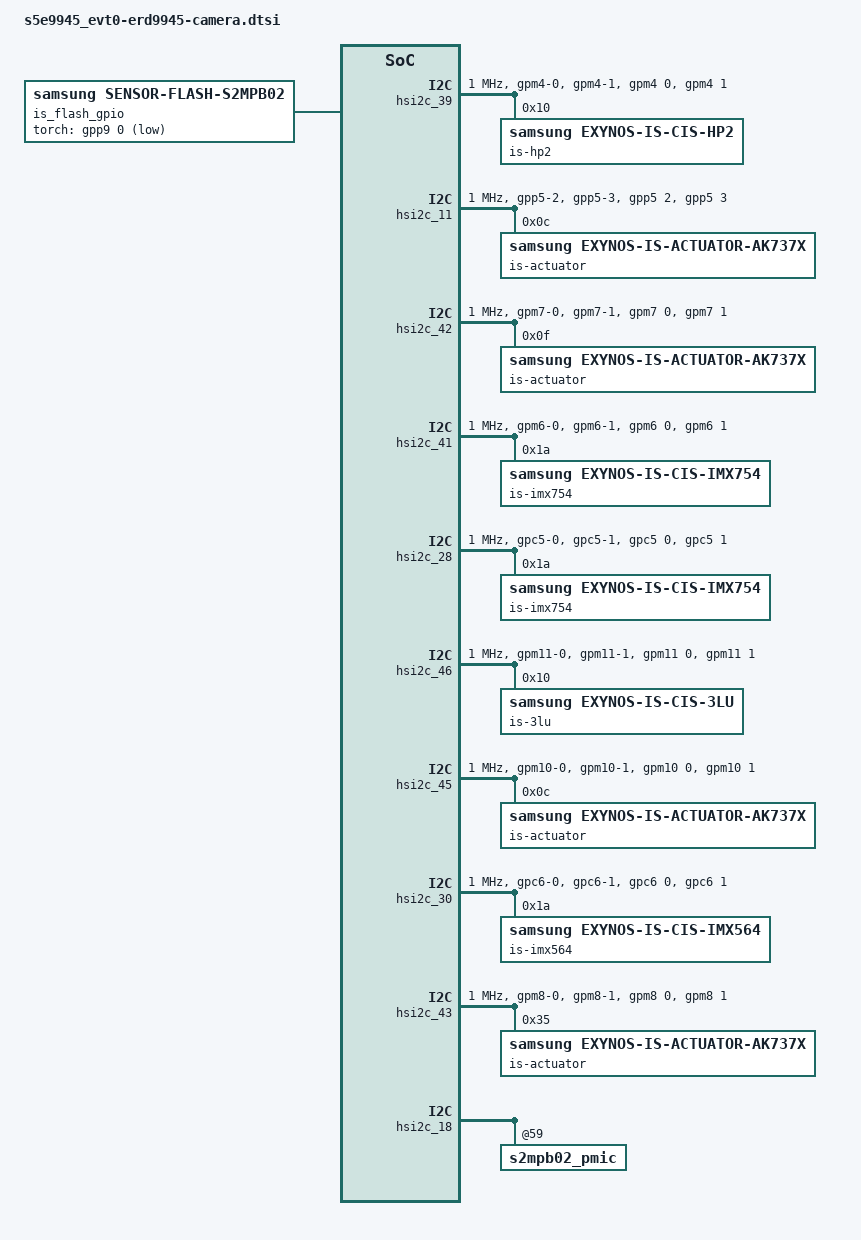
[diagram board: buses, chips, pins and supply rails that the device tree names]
/*
 * Samsung Exynos SoC series Pablo driver
 *
 * Copyright (c) 2022 Samsung Electronics Co., Ltd
 *
 * This program is free software; you can redistribute it and/or modify
 * it under the terms of the GNU General Public License version 2 as
 * published by the Free Software Foundation.
 */

#include <dt-bindings/camera/exynos_is_dt.h>

#include "module_hp2.dtsi"
#include "module_imx754.dtsi"
#include "module_imx754_mirrorflip.dtsi"
#include "module_imx564.dtsi"
#include "module_3lu.dtsi"

/ {
	fragment@camera {
		target-path = "/";
		__overlay__ {
			#address-cells = <2>;
			#size-cells = <1>;
			interrupt-parent = <&gic>;

			is_flash_gpio: is-flash-gpio@0 {
				compatible = "samsung,sensor-flash-s2mpb02";
				sensor-module = <&is_sensor_hp2>, <&is_sensor_imx754>, <&is_sensor_imx754_mirrorflip>;
				id = <0 2 3>;
				status = "okay";

				torch-gpio = <&gpp9 0 0x1>;
			};

			/* REAR CAMERA */
			is_sensor0: is_sensor0@1A030000 {
				reg = <0x0 0x1A040000 0x1000>, /* MIPI-CSI1 */
					<0x0 0x1A0F0000 0x10000>, /* PHY: M0S4S4S4S4S4S2 */
					<0x0 0x1A19022C 0x10>, /* CSIS_FRO */
					<0x0 0x1A190254 0x10>; /* CSIS 7x5 OTF_OUT MUX */
				scenario = <SENSOR_SCENARIO_NORMAL>;    /* Normal, Vision, OIS etc */

				id = <0>;
				csi_ch = <1>;
				status = "okay";
				use_cphy = <1>;

				interrupts = <0 INTREQ__CSIS1 IRQ_TYPE_LEVEL_HIGH>; /* MIPI-CSI1 */
				phys = <&mipi_phy_csis1_m0s4s4s4s4s4s4_s22 0>;
				phy_setfile = <&cphy_setfile>;
			};

			/* FRONT CAMERA */
			is_sensor1: is_sensor1@1A040000 {
				reg = <0x0 0x1A030000 0x1000>, /* MIPI-CSI0 */
					<0x0 0x1A0F0000 0x10000>, /* PHY: M0S4S4S4S4S4S2 */
					<0x0 0x1A19022C 0x10>, /* CSIS_FRO */
					<0x0 0x1A190254 0x10>; /* CSIS 7x5 OTF_OUT MUX */
				scenario = <SENSOR_SCENARIO_NORMAL>;    /* Normal, Vision, OIS etc */
				id = <1>;
				csi_ch = <0>;
				status = "okay";
				use_cphy = <1>;
				scramble = <1>; /* need to sync with sensor setting */

				interrupts = <0 INTREQ__CSIS0 IRQ_TYPE_LEVEL_HIGH>; /* MIPI-CSI0 */
				phys = <&mipi_phy_csis0_m0s4s4s4s4s4s4_s22 0>;
				phy_setfile = <&cphy_setfile>;
			};

			/* Tele x3 CAMERA */
			is_sensor2: is_sensor2@1A050000 {
				reg = <0x0 0x1A050000 0x1000>, /* MIPI-CSI2 */
					<0x0 0x1A0F0000 0x10000>, /* PHY: M0S4S4S4S4S4S2 */
					<0x0 0x1A19022C 0x10>, /* CSIS_FRO */
					<0x0 0x1A190254 0x10>; /* CSIS 7x5 OTF_OUT MUX */
				scenario = <SENSOR_SCENARIO_NORMAL>;    /* Normal, Vision, OIS etc */
				id = <2>;
				csi_ch = <2>;
				status = "okay";
				use_cphy = <1>;

				interrupts = <0 INTREQ__CSIS2 IRQ_TYPE_LEVEL_HIGH>; /* MIPI-CSI2 */
				phys = <&mipi_phy_csis2_m0s4s4s4s4s4s4_s22 0>;
				phy_setfile = <&cphy_setfile>;
			};

			/* Tele x10 CAMERA */
			is_sensor3: is_sensor3@1A060000 {
				reg = <0x0 0x1A070000 0x1000>, /* MIPI-CSI4 */
					<0x0 0x1A0F0000 0x10000>, /* PHY: M0S4S4S4S4S4S2 */
					<0x0 0x1A19022C 0x10>, /* CSIS_FRO */
					<0x0 0x1A190254 0x10>; /* CSIS 7x5 OTF_OUT MUX */
				scenario = <SENSOR_SCENARIO_NORMAL>;    /* Normal, Vision, OIS etc */
				id = <3>;
				csi_ch = <4>;
				status = "okay";
				use_cphy = <1>;

				interrupts = <0 INTREQ__CSIS4 IRQ_TYPE_LEVEL_HIGH>; /* MIPI-CSI4 */
				phys = <&mipi_phy_csis4_m0s4s4s4s4s4s4_s22 0>;
				phy_setfile = <&cphy_setfile>;
			};

			/* ULTRA WIDE CAMERA */
			is_sensor4: is_sensor4@1A070000 {
				reg = <0x0 0x1A060000 0x1000>, /* MIPI-CSI3 */
					<0x0 0x1A0F0000 0x10000>, /* PHY: M0S4S4S4S4S4S2 */
					<0x0 0x1A19022C 0x10>, /* CSIS_FRO */
					<0x0 0x1A190254 0x10>; /* CSIS 7x5 OTF_OUT MUX */
				scenario = <SENSOR_SCENARIO_NORMAL>;    /* Normal, Vision, OIS etc */
				id = <4>;
				csi_ch = <3>;
				status = "okay";
				use_cphy = <1>;

				interrupts = <0 INTREQ__CSIS3 IRQ_TYPE_LEVEL_HIGH>; /* MIPI-CSI3 */
				phys = <&mipi_phy_csis3_m0s4s4s4s4s4s4_s22 0>;
				phy_setfile = <&cphy_setfile>;
			};

			is_sensor5: is_sensor5@1A080000 {
				scenario = <SENSOR_SCENARIO_NORMAL>;    /* Normal, Vision, OIS etc */
				id = <1>;
				csi_ch = <1>;
				status = "disabled";
			};
		}; /* end of __overlay__ */
	}; /* end of fragment */
}; /* end of root */

/***** reference symbol node *****/
&pinctrl_1 {
	/* REAR WIDE */
	hsi2c39_bus_in: hsi2c39-bus-in {
		samsung,pins = "gpm4-0", "gpm4-1";
		samsung,pin-function = <0>;
		samsung,pin-pud = <0>;
		samsung,pin-drv = <0>;
	};

	/* REAR TELE 3x */
	hsi2c41_bus_in: hsi2c41-bus-in {
		samsung,pins = "gpm6-0", "gpm6-1";
		samsung,pin-function = <0>;
		samsung,pin-pud = <0>;
		samsung,pin-drv = <0>;
	};

	/* FRONT */
	hsi2c46_bus_in: hsi2c46_bus_in-bus-in {
		samsung,pins = "gpm11-0", "gpm11-1";
		samsung,pin-function = <0>;
		samsung,pin-pud = <0>;
		samsung,pin-drv = <0>;
	};

	/* Tele 3x AF */
	hsi2c42_bus_in: hsi2c42-bus-in {
		samsung,pins = "gpm7-0", "gpm7-1";
		samsung,pin-function = <0>;
		samsung,pin-pud = <0>;
		samsung,pin-drv = <0>;
	};

	/* REAR UW AF*/
	hsi2c43_bus_in: hsi2c43-bus-in {
		samsung,pins = "gpm8-0", "gpm8-1";
		samsung,pin-function = <0>;
		samsung,pin-pud = <0>;
		samsung,pin-drv = <0>;
	};

	/* FRONT AF*/
	hsi2c45_bus_in: hsi2c45-bus-in {
		samsung,pins = "gpm10-0", "gpm10-1";
		samsung,pin-function = <0>;
		samsung,pin-pud = <0>;
		samsung,pin-drv = <0>;
	};
};

&pinctrl_6 {
	/* Tele 10x */
	hsi2c28_bus_in: hsi2c28-bus-in {
		samsung,pins = "gpc5-0", "gpc5-1";
		samsung,pin-function = <0>;
		samsung,pin-pud = <0>;
		samsung,pin-drv = <0>;
	};
};

&pinctrl_7 {
	/* REAR UW */
	hsi2c30_bus_in: hsi2c30-bus-in {
		samsung,pins = "gpc6-0", "gpc6-1";
		samsung,pin-function = <0>;
		samsung,pin-pud = <0>;
		samsung,pin-drv = <0>;
	};

	/* REAR WIDE AF */
	hsi2c11_bus_in: hsi2c11-bus-in {
		samsung,pins = "gpp5-2", "gpp5-3";
		samsung,pin-function = <0>;
		samsung,pin-pud = <0>;
		samsung,pin-drv = <0>;
	};
};

&hsi2c_39 {
	#address-cells = <1>;
	#size-cells = <0>;
	gpios = <&gpm4 0 0 &gpm4 1 0>;
	status = "okay";
	clock-frequency = <1000000>;
	samsung,reset-before-trans;
	samsung,fast-plus-mode;

	pinctrl-names = "default","on_i2c","off_i2c";
	pinctrl-0 = <&hsi2c39_bus_in>;
	pinctrl-1 = <&hsi2c39_bus>;
	pinctrl-2 = <&hsi2c39_bus_in>;

	is-hp2@10 {
		compatible = "samsung,exynos-is-cis-hp2";
		sensor-module = <&is_sensor_hp2>;
		reg = <0x10>; /* 1 bit right shift */
		id = <0>; /* matching is_sensor id */
		setfile = "setA";
		rev_reg = <0x0002 2 0xB000>;
	};
};

&hsi2c_11 {
	#address-cells = <1>;
	#size-cells = <0>;
	gpios = <&gpp5 2 0 &gpp5 3 0>;
	status = "okay";
	clock-frequency = <1000000>;
	samsung,reset-before-trans;
	samsung,fast-plus-mode;

	pinctrl-names = "default","on_i2c","off_i2c";
	pinctrl-0 = <&hsi2c11_bus_in>;
	pinctrl-1 = <&hsi2c11_bus>;
	pinctrl-2 = <&hsi2c11_bus_in>;

	is-actuator@C { /* wide AF */
		compatible = "samsung,exynos-is-actuator-ak737x";
		sensor-module = <&is_sensor_hp2>;
		reg = <0x0C>;
		id = <0>; /* matching is_sensor id */
		/* AK7314: addr 0xF3, data 0x19 */
		vendor_product_id = <0xF3 0x13 0xF3 0x19>;
		vendor_first_pos = <2000>;  /* 12bits */
		vendor_first_delay = <2000>;
		vendor_soft_landing_seqid = <3>;
		vendor_soft_landing_list = <640 30 64 30>; /* 1st_pos delay 2nd_pos delay */
		vendor_use_sleep_mode;
		vendor_use_standby_mode; /* AK7314 with vendor_use_sleep_mode */
		/* delay settings for AK7314 */
		vendor_sleep_to_standby_delay = <2200>;
		vendor_active_to_standby_delay = <300>;
	};
};

&hsi2c_42 {
	#address-cells = <1>;
	#size-cells = <0>;
	gpios = <&gpm7 0 0 &gpm7 1 0>;
	status = "okay";
	clock-frequency = <1000000>;
	samsung,reset-before-trans;
	samsung,fast-plus-mode;

	pinctrl-names = "default","on_i2c","off_i2c";
	pinctrl-0 = <&hsi2c42_bus_in>;
	pinctrl-1 = <&hsi2c42_bus>;
	pinctrl-2 = <&hsi2c42_bus_in>;

	is-actuator@F { /* tele 3x AF */
		compatible = "samsung,exynos-is-actuator-ak737x";
		sensor-module = <&is_sensor_imx754>;
		reg = <0x0F>;
		id = <2>; /* matching is_sensor id */
		/* DW9825A */
		vendor_product_id = <0xF3 0x0E 0xF3 0x00 0xF3 0x19 0xF3 0x13>;
		vendor_first_pos = <960>;  /* 12bits */
		vendor_first_delay = <2000>;
		vendor_use_sleep_mode;
		vendor_use_standby_mode; /* with vendor_use_sleep_mode */
		/* delay settings for DW9825A */
		vendor_sleep_to_standby_delay = <3000>;
		vendor_active_to_standby_delay = <300>;
	};
};

&hsi2c_41 {
	#address-cells = <1>;
	#size-cells = <0>;
	gpios = <&gpm6 0 0 &gpm6 1 0>;
	status = "okay";
	clock-frequency = <1000000>;
	samsung,reset-before-trans;
	samsung,fast-plus-mode;

	pinctrl-names = "default","on_i2c","off_i2c";
	pinctrl-0 = <&hsi2c41_bus_in>;
	pinctrl-1 = <&hsi2c41_bus>;
	pinctrl-2 = <&hsi2c41_bus_in>;

	is-imx754@1A { /* tele x3 */
		compatible = "samsung,exynos-is-cis-imx754";
		sensor-module = <&is_sensor_imx754>;
		reg = <0x1A>; /* 1 bit right shift */
		id = <2>; /* matching is_sensor id */
		setfile = "setA";
		rev_reg = <0x0018 1 0x30>;
		vendor_use_adaptive_mipi;
	};
};

&hsi2c_28 {
	#address-cells = <1>;
	#size-cells = <0>;
	gpios = <&gpc5 0 0 &gpc5 1 0>;
	status = "okay";
	clock-frequency = <1000000>;
	samsung,reset-before-trans;
	samsung,fast-plus-mode;

	pinctrl-names = "default","on_i2c","off_i2c";
	pinctrl-0 = <&hsi2c28_bus_in>;
	pinctrl-1 = <&hsi2c28_bus>;
	pinctrl-2 = <&hsi2c28_bus_in>;

	is-imx754@1A { /* tele x10 */
		compatible = "samsung,exynos-is-cis-imx754";
		sensor-module = <&is_sensor_imx754_mirrorflip>;
		reg = <0x1A>; /* 1 bit right shift */
		id = <3>; /* matching is_sensor id */
		setfile = "setB";
		rev_reg = <0x0018 1 0x30>;
		multicam_slave = <1>;
		vendor_use_adaptive_mipi;
	};
};

&hsi2c_46 {
	#address-cells = <1>;
	#size-cells = <0>;
	gpios = <&gpm11 0 0 &gpm11 1 0>;
	status = "okay";
	clock-frequency = <1000000>;
	samsung,reset-before-trans;
	samsung,fast-plus-mode;

	pinctrl-names = "default","on_i2c","off_i2c";
	pinctrl-0 = <&hsi2c46_bus_in>;
	pinctrl-1 = <&hsi2c46_bus>;
	pinctrl-2 = <&hsi2c46_bus_in>;

	is-3lu@10 {
		compatible = "samsung,exynos-is-cis-3lu";
		sensor-module = <&is_sensor_3lu>;
		reg = <0x10>; /* 1 bit right shift */
		id = <1>; /* matching is_sensor id */
		setfile = "default";
		rev_reg = <0x0002 2 0xA101>;
		vendor_use_adaptive_mipi;
	};

};

&hsi2c_45 {
	#address-cells = <1>;
	#size-cells = <0>;
	gpios = <&gpm10 0 0 &gpm10 1 0>;
	status = "okay";
	clock-frequency = <1000000>;
	samsung,reset-before-trans;
	samsung,fast-plus-mode;

	pinctrl-names = "default","on_i2c","off_i2c";
	pinctrl-0 = <&hsi2c45_bus_in>;
	pinctrl-1 = <&hsi2c45_bus>;
	pinctrl-2 = <&hsi2c45_bus_in>;

	is-actuator@C { /* front AF */
		compatible = "samsung,exynos-is-actuator-ak737x";
		sensor-module = <&is_sensor_3lu>;
		reg = <0x0C>;
		id = <1>; /* matching is_sensor id */
		/* DW9825A */
		vendor_product_id = <0xF3 0x0E>;
		vendor_first_pos = <960>;  /* 12bits */
		vendor_first_delay = <2000>;
		vendor_use_sleep_mode;
		vendor_use_standby_mode; /* with vendor_use_sleep_mode */
		/* delay settings for DW9825A */
		vendor_sleep_to_standby_delay = <3000>;
		vendor_active_to_standby_delay = <300>;
	};
};

&hsi2c_30 {
	#address-cells = <1>;
	#size-cells = <0>;
	gpios = <&gpc6 0 0 &gpc6 1 0>;
	status = "okay";
	clock-frequency = <1000000>;
	samsung,reset-before-trans;
	samsung,fast-plus-mode;

	pinctrl-names = "default","on_i2c","off_i2c";
	pinctrl-0 = <&hsi2c30_bus_in>;
	pinctrl-1 = <&hsi2c30_bus>;
	pinctrl-2 = <&hsi2c30_bus_in>;

	is-imx564@1A { /* ultrawide */
		compatible = "samsung,exynos-is-cis-imx564";
		sensor-module = <&is_sensor_imx564>;
		reg = <0x1A>; /* 1 bit right shift */
		id = <4>; /* matching is_sensor id */
		setfile = "setA";
		status = "okay";
		rev_reg = <0x36F2 2 0x564D>;
		vendor_use_adaptive_mipi;
	};
};

&hsi2c_43 {
	#address-cells = <1>;
	#size-cells = <0>;
	gpios = <&gpm8 0 0 &gpm8 1 0>;
	status = "okay";
	clock-frequency = <1000000>;
	samsung,reset-before-trans;
	samsung,fast-plus-mode;

	pinctrl-names = "default","on_i2c","off_i2c";
	pinctrl-0 = <&hsi2c43_bus_in>;
	pinctrl-1 = <&hsi2c43_bus>;
	pinctrl-2 = <&hsi2c43_bus_in>;

	is-actuator@35 { /* uwide AF */
		compatible = "samsung,exynos-is-actuator-ak737x";
		reg = <0x35>;
		sensor-module = <&is_sensor_imx564>;
		id = <4>; /* matching is_sensor id */
		/* DW9825A */
		vendor_product_id = <0xF3 0x0E>;
		vendor_first_pos = <960>;  /* 12bits */
		vendor_first_delay = <2000>;
		vendor_use_sleep_mode;
		vendor_use_standby_mode; /* with vendor_use_sleep_mode */
		/* delay settings for DW9825A */
		vendor_sleep_to_standby_delay = <3000>;
		vendor_active_to_standby_delay = <300>;
	};
};

&hsi2c_18 {
	s2mpb02_pmic@59 {
		torch {
			torch1-gpio = <&gpp9 0 0x1>;

			status = "okay";

			leds1 {
				ledname = "leds-sec1";
				id = <0>;
				brightness = <0xE>; /* adaptive Nx100+50 : 1450mA */
				timeout = <0x7>; /* (N+1)x62.5 : 500ms */
				torch_table_enable = <0>;
			};

			leds2 {
				ledname = "torch-sec1";
				id = <1>;
				brightness = <0xE>; /* Nx20 = 280mA */
				timeout = <0xF>;
				torch_table_enable = <1>;
				torch_table = <3 5 5 6 6 8 8 8 10 10>;
				/* 60mA 100mA 120mA 160mA 200mA */
			};
		};
	};
};

&exynos_is {
	vender {
		use_module_check;
		use_ois;
		check_sensor_vendor;
		ois_sensor_index = <0>;
		aperture_sensor_index = <0>;
		mcu_sensor_index = <0>;

		is_vendor_sensor_count = <5>;
		max_supported_camera = <7>;
		supported_cameraId = <56 58 52 54 1 21 23>;
		ois_gyro_list = <0x01 0x01 0x30 0x01 0x01 0x00 0x01>;
		/*
		* Wide(0)
		* Front(1)
		* U Wide(2)
		* Front 80(3) - not available for factory
		* Rear ToF(4) - not available for factory
		* Front Secure(5) - not available for factory
		* Dual Zoom(20)
		* Dual Portrait Tele(21) - Main Tele/Sub Wide
		* Dual Portrait Wide(23) - Main Wide/Sub U Wide
		* Tele 2x2(50)
		* Tele 17.9(52)
		* Front_3(53)
		* Tele_2(54)
		* Front_4(55)
		* Rear_Wide(56)
		* Rear_UW(58)
		* REAR ToF(80)
		*/

		/* sysfs camera id */
		max_camera_num = <9>;
		sensor_name { /* position = "name" */
			0 = "S5KHP2";
			1 = "S5K3LU";
			2 = "IMX754";
			4 = "IMX564";
			6 = "IMX754";
		};

		sensor_id { /* position = <sensor_id> */
			0 = <74>;	/* S5KHP2 */
			1 = <75>;	/* S5K3LU */
			2 = <127>;	/* IMX754 */
			4 = <129>;	/* IMX564 */
			6 = <127>;	/* IMX754 */
		};

		camera_info0 {			/* 0 : sysfs rear */
			internal_id = <0>;	/* 0 : wide */
			isp = <0>;		/* 0 : INT, 1 : EXT, 2 : SOC */
			cal_memory = <2>;	/* 0 : N, 1 : FROM, 2 : EEPROM, 3 : OTP */
			read_version = <0>;	/* 0 : SYSFS, 1 : CAMON */
			core_voltage = <0>;	/* 0 : N, 1 : Y */
			upgrade = <0>;		/* 0 : N, 1 : SYSFS , 2 : CAMON */
			fw_write = <0>;		/* 0 : N, 1 : OS, 2 : SD, 3 : ALL */
			fw_dump = <0>;		/* 0 : N, 1 : Y */
			companion = <0>;	/* 0 : N, 1 : Y */
			ois = <1>;		/* 0 : N, 1 : Y */
			valid = <1>;		/* 0 : INVALID, 1 : VALID */
		};
		camera_info1 {			/* 1 : sysfs front */
			internal_id = <1>;	/* 1 : front master */
			isp = <0>;		/* 0 : INT, 1 : EXT, 2 : SOC */
			cal_memory = <2>;	/* 0 : N, 1 : FROM, 2 : EEPROM, 3 : OTP */
			read_version = <0>;	/* 0 : SYSFS, 1 : CAMON */
			core_voltage = <0>;	/* 0 : N, 1 : Y */
			upgrade = <0>;		/* 0 : N, 1 : SYSFS, 2 : CAMON */
			fw_write = <0>;		/* 0 : N, 1 : OS, 2 : SD, 3 : ALL */
			fw_dump = <0>;		/* 0 : N, 1 : Y */
			companion = <0>;	/* 0 : N, 1 : Y */
			ois = <0>;		/* 0 : N, 1 : Y */
			valid = <1>;		/* 0 : INVALID, 1 : VALID */
		};
		camera_info2 {			/* 2 : sysfs rear2 */
			internal_id = <4>;	/* 4 : ultra wide */
			isp = <0>;		/* 0 : INT, 1 : EXT, 2 : SOC */
			cal_memory = <2>;	/* 0 : N, 1 : FROM, 2 : EEPROM, 3 : OTP */
			read_version = <0>;	/* 0 : SYSFS, 1 : CAMON */
			core_voltage = <0>;	/* 0 : N, 1 : Y */
			upgrade = <0>;		/* 0 : N, 1 : SYSFS, 2 : CAMON */
			fw_write = <0>;		/* 0 : N, 1 : OS, 2 : SD, 3 : ALL */
			fw_dump = <0>;		/* 0 : N, 1 : Y */
			companion = <0>;	/* 0 : N, 1 : Y */
			ois = <0>;		/* 0 : N, 1 : Y */
			valid = <1>;		/* 0 : INVALID, 1 : VALID */
		};
		camera_info3 {			/* 3 : sysfs front2 */
			valid = <0>;		/* 0 : INVALID, 1 : VALID */
		};
		camera_info4 {			/* 4 : sysfs rear3 */
			internal_id = <2>;	/* 4 : tele */
			isp = <0>;		/* 0 : INT, 1 : EXT, 2 : SOC */
			cal_memory = <2>;	/* 0 : N, 1 : FROM, 2 : EEPROM, 3 : OTP */
			read_version = <0>;	/* 0 : SYSFS, 1 : CAMON */
			core_voltage = <0>;	/* 0 : N, 1 : Y */
			upgrade = <0>;		/* 0 : N, 1 : SYSFS, 2 : CAMON */
			fw_write = <0>;		/* 0 : N, 1 : OS, 2 : SD, 3 : ALL */
			fw_dump = <0>;		/* 0 : N, 1 : Y */
			companion = <0>;	/* 0 : N, 1 : Y */
			ois = <1>;		/* 0 : N, 1 : Y */
			valid = <1>;		/* 0 : INVALID, 1 : VALID   */
		};
		camera_info5 {			/* 5 : sysfs front3 */
			valid = <0>;		/* 0 : INVALID, 1 : VALID */
		};
		camera_info6 {			/* 6 : sysfs rear4 */
			internal_id = <6>;	/* 6 : tele x10 */
			isp = <0>;		/* 0 : INT, 1 : EXT, 2 : SOC */
			cal_memory = <2>;	/* 0 : N, 1 : FROM, 2 : EEPROM, 3 : OTP */
			read_version = <0>;	/* 0 : SYSFS, 1 : CAMON */
			core_voltage = <0>;	/* 0 : N, 1 : Y */
			upgrade = <0>;		/* 0 : N, 1 : SYSFS, 2 : CAMON */
			fw_write = <0>;		/* 0 : N, 1 : OS, 2 : SD, 3 : ALL */
			fw_dump = <0>;		/* 0 : N, 1 : Y */
			companion = <0>;	/* 0 : N, 1 : Y */
			ois = <1>;		/* 0 : N, 1 : Y */
			valid = <1>;		/* 0 : INVALID, 1 : VALID   */
		};
		camera_info7 {			/* 7 : sysfs front4 */
			valid = <0>;		/* 0 : INVALID, 1 : VALID */
		};
		camera_info8 {			/* 8 : sysfs rear tof */
			valid = <0>;		/* 0 : INVALID, 1 : VALID */
		};
	};

	lic_offsets {
		/* 3AA = <setA lic offset0, setA lic offset1, set A trigger context */
		/*		setB lic offset0, setB lic offset1, set B trigger context> */
		/* 4672: 4640x4352 */
		/* 5824: 5804x4352 */
		3AA = <5461 10922 16383 0 5461 10922 16383 0>;
	};

	is_dvfs {
		table0 {
			desc = "dvfs table v0.0";

			default_int_cam = <0>;
			default_cam = <0>;
			default_csis = <0>;
			default_isp = <0>;
			default_mif = <0>;
			default_int = <0>;
			default_icpu = <0>;

			rear_single_photo_cam = <5>;
			rear_single_photo_isp = <6>;
			rear_single_photo_int_cam = <4>;
			rear_single_photo_mif = <11>;
			rear_single_photo_int = <1>;
			rear_single_photo_icpu = <0>;

			rear_single_photo_full_cam = <5>;
			rear_single_photo_full_isp = <6>;
			rear_single_photo_full_int_cam = <5>;
			rear_single_photo_full_mif = <11>;
			rear_single_photo_full_int = <1>;
			rear_single_photo_full_icpu = <0>;

			rear_single_video_fhd30_cam = <5>;
			rear_single_video_fhd30_isp = <6>;
			rear_single_video_fhd30_int_cam = <6>;
			rear_single_video_fhd30_mif = <11>;
			rear_single_video_fhd30_int = <2>;
			rear_single_video_fhd30_icpu = <1>;

			rear_single_video_fhd30_supersteady_cam = <5>;
			rear_single_video_fhd30_supersteady_isp = <6>;
			rear_single_video_fhd30_supersteady_int_cam = <6>;
			rear_single_video_fhd30_supersteady_mif = <11>;
			rear_single_video_fhd30_supersteady_int = <3>;
			rear_single_video_fhd30_supersteady_icpu = <0>;

			rear_single_video_fhd60_cam = <5>;
			rear_single_video_fhd60_isp = <6>;
			rear_single_video_fhd60_int_cam = <5>;
			rear_single_video_fhd60_mif = <8>;
			rear_single_video_fhd60_int = <2>;
			rear_single_video_fhd60_icpu = <1>;

			rear_single_video_fhd60_supersteady_cam = <5>;
			rear_single_video_fhd60_supersteady_isp = <6>;
			rear_single_video_fhd60_supersteady_int_cam = <5>;
			rear_single_video_fhd60_supersteady_mif = <7>;
			rear_single_video_fhd60_supersteady_int = <2>;
			rear_single_video_fhd60_supersteady_icpu = <0>;

			rear_single_video_uhd30_cam = <5>;
			rear_single_video_uhd30_isp = <6>;
			rear_single_video_uhd30_int_cam = <5>;
			rear_single_video_uhd30_mif = <8>;
			rear_single_video_uhd30_int = <7>;
			rear_single_video_uhd30_icpu = <1>;

			rear_single_video_uhd60_cam = <5>;
			rear_single_video_uhd60_isp = <5>;
			rear_single_video_uhd60_int_cam = <4>;
			rear_single_video_uhd60_mif = <5>;
			rear_single_video_uhd60_int = <6>;
			rear_single_video_uhd60_icpu = <1>;

			rear_single_capture_cam = <5>;
			rear_single_capture_isp = <6>;
			rear_single_capture_int_cam = <5>;
			rear_single_capture_mif = <8>;
			rear_single_capture_int = <0>;
			rear_single_capture_icpu = <0>;

			rear_single_video_fhd120_cam = <5>;
			rear_single_video_fhd120_isp = <6>;
			rear_single_video_fhd120_int_cam = <6>;
			rear_single_video_fhd120_mif = <8>;
			rear_single_video_fhd120_int = <1>;
			rear_single_video_fhd120_icpu = <0>;

			rear_single_video_uhd120_cam = <3>;
			rear_single_video_uhd120_isp = <3>;
			rear_single_video_uhd120_int_cam = <6>;
			rear_single_video_uhd120_mif = <2>;
			rear_single_video_uhd120_int = <0>;
			rear_single_video_uhd120_icpu = <0>;

			rear_single_video_fhd240_cam = <5>;
			rear_single_video_fhd240_isp = <5>;
			rear_single_video_fhd240_int_cam = <6>;
			rear_single_video_fhd240_mif = <2>;
			rear_single_video_fhd240_int = <1>;
			rear_single_video_fhd240_icpu = <0>;

			rear_single_video_fhd480_cam = <3>;
			rear_single_video_fhd480_isp = <3>;
			rear_single_video_fhd480_int_cam = <6>;
			rear_single_video_fhd480_mif = <2>;
			rear_single_video_fhd480_int = <1>;
			rear_single_video_fhd480_icpu = <0>;

			rear_single_ssm_cam = <5>;
			rear_single_ssm_isp = <5>;
			rear_single_ssm_int_cam = <6>;
			rear_single_ssm_mif = <2>;
			rear_single_ssm_int = <1>;
			rear_single_ssm_icpu = <0>;

			rear_single_remosaic_photo_cam = <5>;
			rear_single_remosaic_photo_isp = <6>;
			rear_single_remosaic_photo_int_cam = <4>;
			rear_single_remosaic_photo_mif = <11>;
			rear_single_remosaic_photo_int = <1>;
			rear_single_remosaic_photo_icpu = <0>;

			rear_single_remosaic_capture_cam = <4>;
			rear_single_remosaic_capture_isp = <4>;
			rear_single_remosaic_capture_int_cam = <6>;
			rear_single_remosaic_capture_mif = <2>;
			rear_single_remosaic_capture_int = <0>;
			rear_single_remosaic_capture_icpu = <0>;

			rear_single_vt_cam = <5>;
			rear_single_vt_isp = <6>;
			rear_single_vt_int_cam = <6>;
			rear_single_vt_mif = <10>;
			rear_single_vt_int = <1>;
			rear_single_vt_icpu = <0>;

			rear_single_video_8k24_cam = <4>;
			rear_single_video_8k24_isp = <4>;
			rear_single_video_8k24_int_cam = <4>;
			rear_single_video_8k24_mif = <5>;
			rear_single_video_8k24_int = <4>;
			rear_single_video_8k24_icpu = <1>;

			rear_single_video_8k24_hf_cam = <5>;
			rear_single_video_8k24_hf_isp = <6>;
			rear_single_video_8k24_hf_int_cam = <4>;
			rear_single_video_8k24_hf_mif = <8>;
			rear_single_video_8k24_hf_int = <3>;
			rear_single_video_8k24_hf_icpu = <1>;

			rear_single_video_8k30_cam = <2>;
			rear_single_video_8k30_isp = <2>;
			rear_single_video_8k30_int_cam = <2>;
			rear_single_video_8k30_mif = <4>;
			rear_single_video_8k30_int = <4>;
			rear_single_video_8k30_icpu = <1>;

			rear_single_video_8k30_hf_cam = <5>;
			rear_single_video_8k30_hf_isp = <6>;
			rear_single_video_8k30_hf_int_cam = <4>;
			rear_single_video_8k30_hf_mif = <7>;
			rear_single_video_8k30_hf_int = <2>;
			rear_single_video_8k30_hf_icpu = <1>;

			rear_single_wide_fastae_cam = <0>;
			rear_single_wide_fastae_isp = <0>;
			rear_single_wide_fastae_int_cam = <0>;
			rear_single_wide_fastae_mif = <0>;
			rear_single_wide_fastae_int = <0>;
			rear_single_wide_fastae_icpu = <0>;

			rear_dual_photo_cam = <5>;
			rear_dual_photo_isp = <6>;
			rear_dual_photo_int_cam = <5>;
			rear_dual_photo_mif = <8>;
			rear_dual_photo_int = <0>;
			rear_dual_photo_icpu = <0>;

			rear_dual_video_fhd30_cam = <5>;
			rear_dual_video_fhd30_isp = <6>;
			rear_dual_video_fhd30_int_cam = <6>;
			rear_dual_video_fhd30_mif = <8>;
			rear_dual_video_fhd30_int = <0>;
			rear_dual_video_fhd30_icpu = <0>;

			rear_dual_video_fhd60_cam = <5>;
			rear_dual_video_fhd60_isp = <6>;
			rear_dual_video_fhd60_int_cam = <4>;
			rear_dual_video_fhd60_mif = <6>;
			rear_dual_video_fhd60_int = <1>;
			rear_dual_video_fhd60_icpu = <0>;

			rear_dual_video_uhd30_cam = <5>;
			rear_dual_video_uhd30_isp = <6>;
			rear_dual_video_uhd30_int_cam = <4>;
			rear_dual_video_uhd30_mif = <8>;
			rear_dual_video_uhd30_int = <0>;
			rear_dual_video_uhd30_icpu = <0>;

			rear_dual_video_uhd60_cam = <5>;
			rear_dual_video_uhd60_isp = <5>;
			rear_dual_video_uhd60_int_cam = <4>;
			rear_dual_video_uhd60_mif = <4>;
			rear_dual_video_uhd60_int = <1>;
			rear_dual_video_uhd60_icpu = <0>;

			rear_dual_capture_cam = <3>;
			rear_dual_capture_isp = <5>;
			rear_dual_capture_int_cam = <5>;
			rear_dual_capture_mif = <4>;
			rear_dual_capture_int = <0>;
			rear_dual_capture_icpu = <0>;

			triple_photo_cam = <5>;
			triple_photo_isp = <6>;
			triple_photo_int_cam = <5>;
			triple_photo_mif = <8>;
			triple_photo_int = <0>;
			triple_photo_icpu = <0>;

			triple_video_fhd30_cam = <5>;
			triple_video_fhd30_isp = <6>;
			triple_video_fhd30_int_cam = <6>;
			triple_video_fhd30_mif = <8>;
			triple_video_fhd30_int = <0>;
			triple_video_fhd30_icpu = <0>;

			triple_video_fhd60_cam = <4>;
			triple_video_fhd60_isp = <6>;
			triple_video_fhd60_int_cam = <5>;
			triple_video_fhd60_mif = <5>;
			triple_video_fhd60_int = <0>;
			triple_video_fhd60_icpu = <0>;

			triple_video_uhd30_cam = <5>;
			triple_video_uhd30_isp = <6>;
			triple_video_uhd30_int_cam = <4>;
			triple_video_uhd30_mif = <6>;
			triple_video_uhd30_int = <0>;
			triple_video_uhd30_icpu = <0>;

			triple_video_uhd60_cam = <5>;
			triple_video_uhd60_isp = <5>;
			triple_video_uhd60_int_cam = <4>;
			triple_video_uhd60_mif = <4>;
			triple_video_uhd60_int = <0>;
			triple_video_uhd60_icpu = <0>;

			triple_capture_cam = <2>;
			triple_capture_isp = <5>;
			triple_capture_int_cam = <5>;
			triple_capture_mif = <4>;
			triple_capture_int = <0>;
			triple_capture_icpu = <0>;

			front_single_photo_cam = <5>;
			front_single_photo_isp = <6>;
			front_single_photo_int_cam = <6>;
			front_single_photo_mif = <11>;
			front_single_photo_int = <0>;
			front_single_photo_icpu = <0>;

			front_single_photo_full_cam = <5>;
			front_single_photo_full_isp = <6>;
			front_single_photo_full_int_cam = <6>;
			front_single_photo_full_mif = <11>;
			front_single_photo_full_int = <0>;
			front_single_photo_full_icpu = <0>;

			front_single_video_fhd30_cam = <5>;
			front_single_video_fhd30_isp = <6>;
			front_single_video_fhd30_int_cam = <6>;
			front_single_video_fhd30_mif = <11>;
			front_single_video_fhd30_int = <3>;
			front_single_video_fhd30_icpu = <1>;

			front_single_video_uhd30_cam = <5>;
			front_single_video_uhd30_isp = <6>;
			front_single_video_uhd30_int_cam = <5>;
			front_single_video_uhd30_mif = <8>;
			front_single_video_uhd30_int = <3>;
			front_single_video_uhd30_icpu = <1>;

			front_single_video_fhd60_cam = <5>;
			front_single_video_fhd60_isp = <6>;
			front_single_video_fhd60_int_cam = <5>;
			front_single_video_fhd60_mif = <8>;
			front_single_video_fhd60_int = <3>;
			front_single_video_fhd60_icpu = <1>;

			front_single_video_uhd60_cam = <5>;
			front_single_video_uhd60_isp = <5>;
			front_single_video_uhd60_int_cam = <5>;
			front_single_video_uhd60_mif = <5>;
			front_single_video_uhd60_int = <3>;
			front_single_video_uhd60_icpu = <1>;

			front_single_capture_cam = <5>;
			front_single_capture_isp = <6>;
			front_single_capture_int_cam = <6>;
			front_single_capture_mif = <8>;
			front_single_capture_int = <0>;
			front_single_capture_icpu = <0>;

			front_single_vt_cam = <5>;
			front_single_vt_isp = <6>;
			front_single_vt_int_cam = <6>;
			front_single_vt_mif = <10>;
			front_single_vt_int = <1>;
			front_single_vt_icpu = <0>;

			front_single_fastae_cam = <0>;
			front_single_fastae_isp = <0>;
			front_single_fastae_int_cam = <0>;
			front_single_fastae_mif = <0>;
			front_single_fastae_int = <0>;
			front_single_fastae_icpu = <0>;

			front_single_video_uhd120_cam = <4>;
			front_single_video_uhd120_isp = <5>;
			front_single_video_uhd120_int_cam = <6>;
			front_single_video_uhd120_mif = <3>;
			front_single_video_uhd120_int = <1>;
			front_single_video_uhd120_icpu = <0>;

			front_single_video_fhd120_cam = <4>;
			front_single_video_fhd120_isp = <4>;
			front_single_video_fhd120_int_cam = <5>;
			front_single_video_fhd120_mif = <3>;
			front_single_video_fhd120_int = <0>;
			front_single_video_fhd120_icpu = <0>;

			pip_dual_photo_cam = <5>;
			pip_dual_photo_isp = <6>;
			pip_dual_photo_int_cam = <5>;
			pip_dual_photo_mif = <8>;
			pip_dual_photo_int = <0>;
			pip_dual_photo_icpu = <0>;

			pip_dual_capture_cam = <4>;
			pip_dual_capture_isp = <5>;
			pip_dual_capture_int_cam = <5>;
			pip_dual_capture_mif = <6>;
			pip_dual_capture_int = <0>;
			pip_dual_capture_icpu = <0>;

			pip_dual_video_fhd30_cam = <5>;
			pip_dual_video_fhd30_isp = <6>;
			pip_dual_video_fhd30_int_cam = <6>;
			pip_dual_video_fhd30_mif = <8>;
			pip_dual_video_fhd30_int = <0>;
			pip_dual_video_fhd30_icpu = <0>;

			sensor_only_rear_single_cam = <1>;
			sensor_only_rear_single_isp = <1>;
			sensor_only_rear_single_int_cam = <1>;
			sensor_only_rear_single_mif = <1>;
			sensor_only_rear_single_int = <1>;
			sensor_only_rear_single_icpu = <0>;

			sensor_only_front_cam = <1>;
			sensor_only_front_isp = <1>;
			sensor_only_front_int_cam = <1>;
			sensor_only_front_mif = <1>;
			sensor_only_front_int = <1>;
			sensor_only_front_icpu = <0>;

			throttling_cam = <0>;
			throttling_isp = <0>;
			throttling_int_cam = <5>; /* 234 */
			throttling_mif = <7>; /* 1539 */
			throttling_int = <0>;
			throttling_icpu = <0>;

			max_csis = <0>;
			max_cam = <0>;
			max_isp = <0>;
			max_int_cam = <0>;
			max_mif = <0>;
			max_int = <0>;
			max_icpu = <0>;
		};
	};
};

&cphy_setfile {
	comm {
		/* bias */
		0  = <0x1000 0 32 0x00000010 IDX_BIA_VAL 0>; /* M_BIAS_CON0 */
		1  = <0x1004 0 32 0x00000110 IDX_BIA_VAL 0>; /* M_BIAS_CON1 */
		2  = <0x1008 0 32 0x00003223 IDX_BIA_VAL 0>; /* M_BIAS_CON2 */
		3  = <0x1010 0 32 0x00000240 IDX_BIA_VAL 0>; /* M_BIAS_CON4 */
	};

	lane {
		0  = <0x0004 0 32 0x00003C00 IDX_FIX_VAL 3>; /* SD_GNR_CON1 */
		1  = <0x0008 0 32 0x000001F3 IDX_FIX_VAL 3>; /* SD_ANA_CON0 */
		2  = <0x000C 0 32 0x0000F649 IDX_FIX_VAL 3>; /* SD_ANA_CON1 */
		3  = <0x0010 0 32 0x00000005 IDX_FIX_VAL 3>; /* SD_ANA_CON2 */
		4  = <0x0014 0 32 0x00008600 IDX_FIX_VAL 3>; /* SD_ANA_CON3 */
		5  = <0x0018 0 32 0x00004040 IDX_FIX_VAL 3>; /* SD_ANA_CON4 */
		6  = <0x001C 0 32 0x00002200 IDX_FIX_VAL 3>; /* SD_ANA_CON5 */
		7  = <0x0020 0 32 0x00000E08 IDX_FIX_VAL 3>; /* SD_ANA_CON6 */
		8  = <0x0024 0 32 0x00000040 IDX_FIX_VAL 3>; /* SD_ANA_CON7 */
		9  = <0x0030 0  8 0x00000009 IDX_STL_VAL 3>; /* SD_TIME_CON0 */
		10 = <0x0030 8  1 0x00000000 IDX_STL_CLK 3>; /* SD_TIME_CON0 */
		11 = <0x0034 0 32 0x00000034 IDX_FIX_VAL 3>; /* SD_TIME_CON1 */
		12 = <0x005C 0 32 0x00001000 IDX_FIX_VAL 3>; /* SD_CRC_DLY_CON0 */
		13 = <0x0064 0 32 0x00001501 IDX_FIX_VAL 3>; /* SD_CRC_CON1 */
		14 = <0x0068 0 32 0x00000003 IDX_FIX_VAL 3>; /* SD_CRC_CON2 */
		15 = <0x009c 0 32 0x00000080 IDX_FIX_VAL 3>; /* SD_CRC_DLY_CON3 */

		/* Enable should be set at last */
		16 = <0x0000 0 32 0x00000001 IDX_FIX_VAL 3>; /* SD_GNR_CON0 */
	};
};

